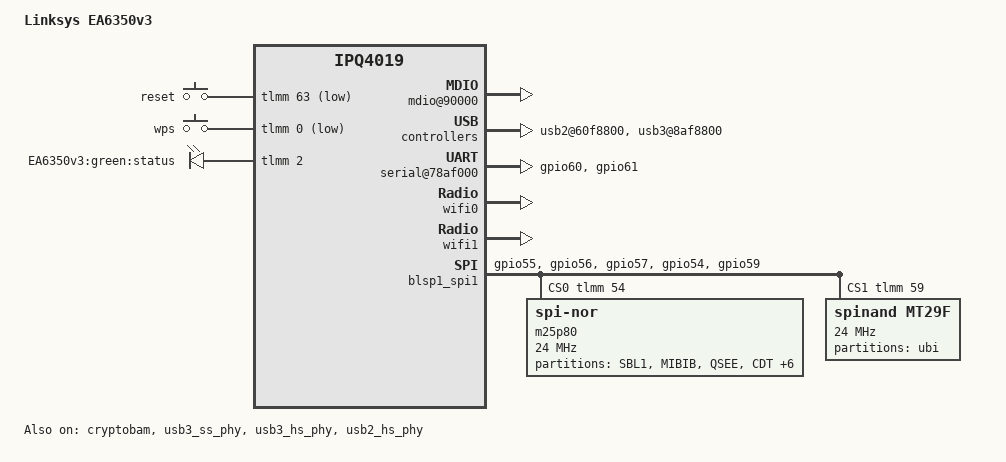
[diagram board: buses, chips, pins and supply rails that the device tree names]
/* Copyright (c) 2015, The Linux Foundation. All rights reserved.
 * Copyright (c) 2018, Oceanic Systems (UK) Ltd. All rights reserved.
 *
 * This file is based off of the qcom-ipq4018-** device files as attributed 
 * to the Linux Foundation. 
 *
 * Permission to use, copy, modify, and/or distribute this software for any
 * purpose with or without fee is hereby granted, provided that the above
 * copyright notice and this permission notice appear in all copies.
 *
 * THE SOFTWARE IS PROVIDED "AS IS" AND THE AUTHOR DISCLAIMS ALL WARRANTIES
 * WITH REGARD TO THIS SOFTWARE INCLUDING ALL IMPLIED WARRANTIES OF
 * MERCHANTABILITY AND FITNESS. IN NO EVENT SHALL THE AUTHOR BE LIABLE FOR
 * ANY SPECIAL, DIRECT, INDIRECT, OR CONSEQUENTIAL DAMAGES OR ANY DAMAGES
 * WHATSOEVER RESULTING FROM LOSS OF USE, DATA OR PROFITS, WHETHER IN AN
 * ACTION OF CONTRACT, NEGLIGENCE OR OTHER TORTIOUS ACTION, ARISING OUT OF
 * OR IN CONNECTION WITH THE USE OR PERFORMANCE OF THIS SOFTWARE.
 *
 */

#include "qcom-ipq4019.dtsi"
#include <dt-bindings/gpio/gpio.h>
#include <dt-bindings/input/input.h>
#include <dt-bindings/soc/qcom,tcsr.h>

/ {
	model = "Linksys EA6350v3";
	compatible = "linksys,ea6350v3", "qcom,ipq4019";

	aliases {
		led-boot = &power;
		led-failsafe = &power;
		led-running = &power;
		led-upgrade = &power;
	};

	soc {
		mdio@90000 {
			status = "okay";
		};

		ess-psgmii@98000 {
			status = "okay";
		};

		tcsr@1949000 {
			compatible = "qcom,tcsr";
			reg = <0x1949000 0x100>;
			qcom,wifi_glb_cfg = <TCSR_WIFI_GLB_CFG>;
		};

		tcsr@194b000 {
			compatible = "qcom,tcsr";
			reg = <0x194b000 0x100>;
			qcom,usb-hsphy-mode-select = <TCSR_USB_HSPHY_HOST_MODE>;
		};

		ess_tcsr@1953000 {
			compatible = "qcom,tcsr";
			reg = <0x1953000 0x1000>;
			qcom,ess-interface-select = <TCSR_ESS_PSGMII>;
		};

		tcsr@1957000 {
			compatible = "qcom,tcsr";
			reg = <0x1957000 0x100>;
			qcom,wifi_noc_memtype_m0_m2 = <TCSR_WIFI_NOC_MEMTYPE_M0_M2>;
		};

		usb2@60f8800 {
			status = "okay";
		};

		serial@78af000 {
			pinctrl-0 = <&serial_pins>;
			pinctrl-names = "default";
			status = "okay";
		};

		usb3@8af8800 {
			status = "okay";
		};

		crypto@8e3a000 {
			status = "okay";
		};

		watchdog@b017000 {
			status = "okay";
		};

		ess-switch@c000000 {
			status = "okay";
		};

		edma@c080000 {
			status = "okay";
		};
	};

	gpio-keys {
		compatible = "gpio-keys";

		reset {
			label = "reset";
			gpios = <&tlmm 63 GPIO_ACTIVE_LOW>;
			linux,code = <KEY_RESTART>;
		};

		wps {
			label = "wps";
			gpios = <&tlmm 0 GPIO_ACTIVE_LOW>;
			linux,code = <KEY_WPS_BUTTON>;
		};
	};

	gpio-leds {
		compatible = "gpio-leds";

		power: status {
			label = "EA6350v3:green:status";
			gpios = <&tlmm 2 GPIO_ACTIVE_HIGH>;
		};
	};
};

&cryptobam {
	status = "okay";
};

&wifi0 {
	status = "okay";
	qcom,ath10k-calibration-variant = "Linksys-EA6350v3";
};

&wifi1 {
	status = "okay";
	qcom,ath10k-calibration-variant = "Linksys-EA6350v3";
};


&blsp_dma {
	status = "okay";
};

&tlmm {
	serial_pins: serial_pinmux {
		mux {
			pins = "gpio60", "gpio61";
			function = "blsp_uart0";
			bias-disable;
		};
	};

	spi_0_pins: spi_0_pinmux {
		mux {
			function = "blsp_spi0";
			pins = "gpio55", "gpio56", "gpio57";
			drive-strength = <12>;
			bias-disable;
		};

		mux_cs {
			function = "gpio";
			pins = "gpio54", "gpio59";
			drive-strength = <2>;
			bias-disable;
			output-high;
		};
	};
};

&blsp1_spi1 { /* BLSP1 QUP1 */
	pinctrl-0 = <&spi_0_pins>;
	pinctrl-names = "default";
	status = "okay";
	cs-gpios = <&tlmm 54 GPIO_ACTIVE_HIGH>,
		   <&tlmm 59 GPIO_ACTIVE_HIGH>;

	m25p80@0 {
		#address-cells = <1>;
		#size-cells = <0>;
		/*
		 * U-boot looks for "n25q128a11" node,
		 * if we don't have it, it will spit out the following warning:
		 * "ipq: fdt fixup unable to find compatible node".
		 */
		compatible = "jedec,spi-nor";
		reg = <0>;
		linux,modalias = "m25p80", "mx25l1606e", "n25q128a11";
		spi-max-frequency = <24000000>;

		partitions {
			compatible = "fixed-partitions";
			#address-cells = <1>;
			#size-cells = <1>;

			SBL1@0 {
				label = "SBL1";
				reg = <0x00000000 0x00040000>;
				read-only;
			};
			MBIB@40000 {
				label = "MIBIB";
				reg = <0x00040000 0x00020000>;
				read-only;
			};
			QSEE@60000 {
				label = "QSEE";
				reg = <0x00060000 0x00060000>;
				read-only;
			};
			CDT@c0000 {
				label = "CDT";
				reg = <0x000c0000 0x00010000>;
				read-only;
			};
			APPSBLENV@d0000 {
				label = "APPSBLENV";
				reg = <0x000d0000 0x00010000>;
				read-only;
			};
			APPSBL@e0000 {
				label = "APPSBL"; /* uboot */
				reg = <0x000e0000 0x00080000>;
				read-only;
			};
			ART@160000 {
				label = "ART";
				reg = <0x00160000 0x00010000>;
				read-only;
			};
			u_env@170000 {
				label = "u_env";
				reg = <0x00170000 0x00020000>;
			};
			s_env@190000 {
				label = "s_env";
				reg = <0x00190000 0x00020000>;
			};
			devinfo@1b0000 {
				label = "devinfo";
				reg = <0x001b0000 0x00010000>;
			};
			/* 0x001c0000 - 0x00200000 unused */
		};
	};
	mt29f@1 {
                status = "okay";
                #address-cells = <1>;
                #size-cells = <0>;
                compatible = "spinand,mt29f", "w25n01gv";
                reg = <1>;
                spi-max-frequency = <24000000>;
                partitions {
                        compatible = "fixed-partitions";
                        #address-cells = <1>;
                        #size-cells = <1>;
			partition0@0 {
                                label = "ubi";
                                reg = <0x00000000 0x08000000>;
                        };
                };
        };

};

&usb3_ss_phy {
	status = "okay";
};

&usb3_hs_phy {
	status = "okay";
};

&usb2_hs_phy {
	status = "okay";
};
